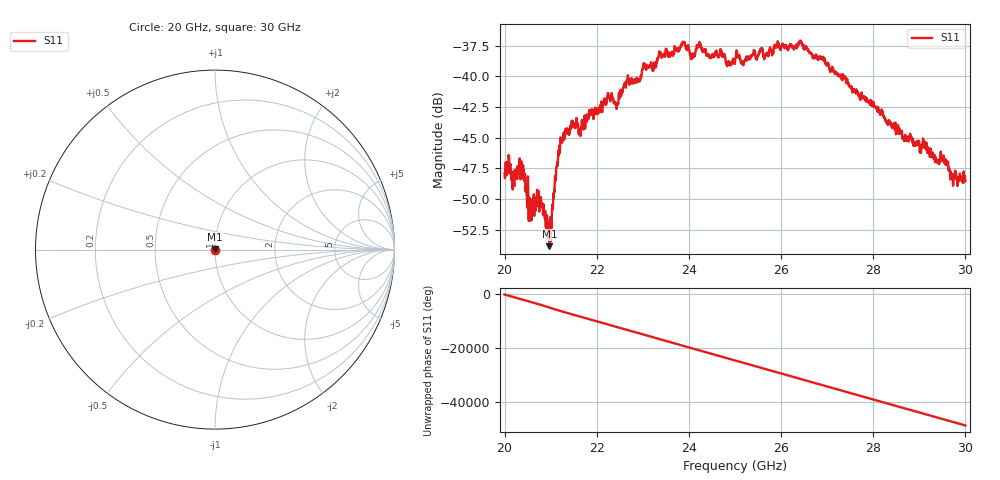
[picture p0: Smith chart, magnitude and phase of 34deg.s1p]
#  HZ  S  RI  R  50.00
! Rohde & Schwarz ZVA40 4Ports - Version 3.90 - 1145.1110k42 SN: 100403
! Date: 2023-10-03 11:49:48
! Measurement: S12
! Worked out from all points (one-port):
!   5001 points, 20 GHz to 30 GHz, reference 50 ohm
!   lowest |S11| = -53.8 dB at 20.97 GHz (marker M1), VSWR 1.00, Z = 50 + j0.203 ohm
!   |S11| at or under -10 dB: start of sweep to end of sweep
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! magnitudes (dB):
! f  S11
! 20 GHz  -47.9
! 20.09 GHz  -46.4
! 20.19 GHz  -47.9
! 20.37 GHz  -47.3
! 20.56 GHz  -50.8
! 20.75 GHz  -50.6
! 20.97 GHz  -53.8
! 21.14 GHz  -47.2
! 21.25 GHz  -45.3
! 22.28 GHz  -41.7
! 22.42 GHz  -42.2
! 22.5 GHz  -41.3
! 22.65 GHz  -40.4
! 22.93 GHz  -40.4
! 23.03 GHz  -39.0
! 23.75 GHz  -37.7
! 23.88 GHz  -37.3
! 24.09 GHz  -38.1
! 24.22 GHz  -37.6
! 24.85 GHz  -38.9
! 25 GHz  -38.8
! 26.25 GHz  -37.7
! 26.43 GHz  -37.2
! 27.5 GHz  -40.8
! 28.75 GHz  -45.0
! 29.51 GHz  -46.7
! 29.72 GHz  -48.0
! 30 GHz  -48.5
